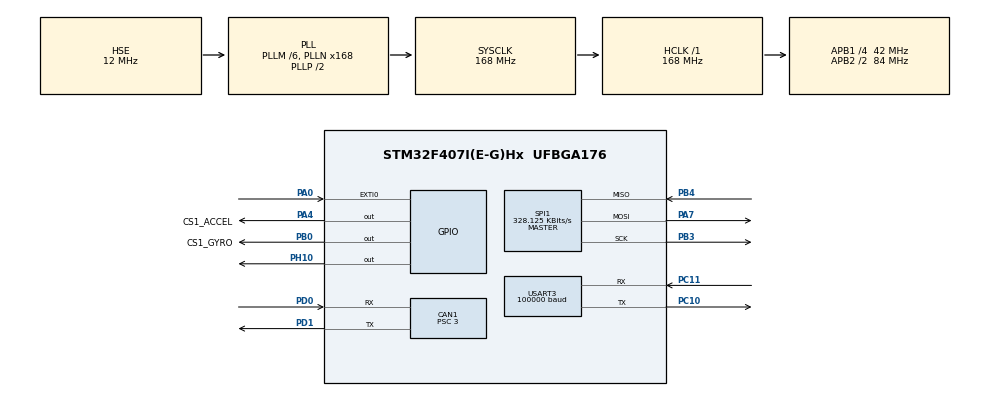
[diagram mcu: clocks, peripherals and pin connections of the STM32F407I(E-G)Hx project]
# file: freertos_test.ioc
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CAN1.BS1=CAN_BS1_10TQ
CAN1.BS2=CAN_BS2_3TQ
CAN1.CalculateBaudRate=1000000
CAN1.CalculateTimeBit=1000
CAN1.CalculateTimeQuantum=71.42857142857143
CAN1.Prescaler=3
Dma.Request0=USART3_RX
Dma.USART3_RX.0.Direction=DMA_PERIPH_TO_MEMORY
Dma.USART3_RX.0.FIFOMode=DMA_FIFOMODE_DISABLE
Dma.USART3_RX.0.Instance=DMA1_Stream1
Dma.USART3_RX.0.MemDataAlignment=DMA_MDATAALIGN_BYTE
Dma.USART3_RX.0.MemInc=DMA_MINC_ENABLE
Dma.USART3_RX.0.Mode=DMA_NORMAL
Dma.USART3_RX.0.PeriphDataAlignment=DMA_PDATAALIGN_BYTE
Dma.USART3_RX.0.PeriphInc=DMA_PINC_DISABLE
Dma.USART3_RX.0.Priority=DMA_PRIORITY_LOW
FREERTOS.Tasks01=defaultTask,24,128,StartDefaultTask,Default,NULL,Dynamic,NULL,NULL
Mcu.Family=STM32F4
Mcu.Name=STM32F407I(E-G)Hx
Mcu.Package=UFBGA176
NVIC.CAN1_RX0_IRQn=true\:5\:0\:false\:false\:true\:true\:true\:true\:true
NVIC.CAN1_RX1_IRQn=true\:5\:0\:false\:false\:true\:true\:true\:true\:true
NVIC.DMA1_Stream1_IRQn=true\:5\:0\:false\:false\:true\:true\:false\:true\:true
NVIC.EXTI0_IRQn=true\:5\:0\:false\:false\:true\:true\:true\:true\:true
NVIC.PriorityGroup=NVIC_PRIORITYGROUP_4
NVIC.TIM6_DAC_IRQn=true\:15\:0\:false\:false\:true\:false\:false\:true\:true
NVIC.TimeBase=TIM6_DAC_IRQn
NVIC.TimeBaseIP=TIM6
NVIC.USART3_IRQn=true\:5\:0\:false\:false\:true\:true\:true\:true\:true
PA0-WKUP.GPIO_PuPd=GPIO_PULLDOWN
PA0-WKUP.Signal=GPXTI0
PA13.Mode=Serial_Wire
PA13.Signal=SYS_JTMS-SWDIO
PA14.Mode=Serial_Wire
PA14.Signal=SYS_JTCK-SWCLK
PA4.GPIO_Label=CS1_ACCEL
PA4.GPIO_PuPd=GPIO_PULLUP
PA4.GPIO_Speed=GPIO_SPEED_FREQ_HIGH
PA4.PinState=GPIO_PIN_SET
PA4.Signal=GPIO_Output
PA7.Mode=Full_Duplex_Master
PA7.Signal=SPI1_MOSI
PB0.GPIO_Label=CS1_GYRO
PB0.GPIO_PuPd=GPIO_PULLUP
PB0.GPIO_Speed=GPIO_SPEED_FREQ_HIGH
PB0.PinState=GPIO_PIN_SET
PB0.Signal=GPIO_Output
PB3.Mode=Full_Duplex_Master
PB3.Signal=SPI1_SCK
PB4.Mode=Full_Duplex_Master
PB4.Signal=SPI1_MISO
PC10.Mode=Asynchronous
PC10.Signal=USART3_TX
PC11.Mode=Asynchronous
PC11.Signal=USART3_RX
PD0.Mode=CAN_Activate
PD0.Signal=CAN1_RX
PD1.Mode=CAN_Activate
PD1.Signal=CAN1_TX
PH0-OSC_IN.Mode=HSE-External-Oscillator
PH0-OSC_IN.Signal=RCC_OSC_IN
PH1-OSC_OUT.Mode=HSE-External-Oscillator
PH1-OSC_OUT.Signal=RCC_OSC_OUT
PH10.Signal=GPIO_Output
ProjectManager.HeapSize=0x200
ProjectManager.StackSize=0x400
ProjectManager.TargetToolchain=CMake
RCC.48MHZClocksFreq_Value=84000000
RCC.AHBFreq_Value=168000000
RCC.APB1CLKDivider=RCC_HCLK_DIV4
RCC.APB1Freq_Value=42000000
RCC.APB1TimFreq_Value=84000000
RCC.APB2CLKDivider=RCC_HCLK_DIV2
RCC.APB2Freq_Value=84000000
RCC.APB2TimFreq_Value=168000000
RCC.CortexFreq_Value=168000000
RCC.HCLKFreq_Value=168000000
RCC.HSE_VALUE=12000000
RCC.HSI_VALUE=16000000
RCC.LSE_VALUE=32768
RCC.PLLM=6
RCC.PLLN=168
RCC.PLLSourceVirtual=RCC_PLLSOURCE_HSE
RCC.SYSCLKFreq_VALUE=168000000
RCC.SYSCLKSource=RCC_SYSCLKSOURCE_PLLCLK
RCC.VCOOutputFreq_Value=336000000
SPI1.BaudRatePrescaler=SPI_BAUDRATEPRESCALER_256
SPI1.CLKPhase=SPI_PHASE_2EDGE
SPI1.CLKPolarity=SPI_POLARITY_HIGH
SPI1.CalculateBaudRate=328.125 KBits/s
SPI1.Direction=SPI_DIRECTION_2LINES
SPI1.Mode=SPI_MODE_MASTER
SPI1.VirtualType=VM_MASTER
USART3.BaudRate=100000
USART3.Parity=PARITY_EVEN
USART3.VirtualMode=VM_ASYNC
USART3.WordLength=WORDLENGTH_9B
VP_FREERTOS_VS_CMSIS_V2.Mode=CMSIS_V2
VP_SYS_VS_tim6.Mode=TIM6
board=custom

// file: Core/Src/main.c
/* USER CODE BEGIN Header */
/**
  ******************************************************************************
  * @file           : main.c
  * @brief          : Main program body
  ******************************************************************************
  * @attention
  *
  * Copyright (c) 2025 STMicroelectronics.
  * All rights reserved.
  *
  * This software is licensed under terms that can be found in the LICENSE file
  * in the root directory of this software component.
  * If no LICENSE file comes with this software, it is provided AS-IS.
  *
  ******************************************************************************
  */
/* USER CODE END Header */
#include "main.h"
#include "cmsis_os.h"
#include "can.h"
#include "dma.h"
#include "spi.h"
#include "usart.h"
#include "gpio.h"

/* USER CODE BEGIN PV */
CAN_FilterTypeDef can_filter = {
  .FilterIdHigh = 0x0000,
  .FilterIdLow = 0x0000,
  .FilterMaskIdHigh = 0x0000,
  .FilterMaskIdLow = 0x0000,
  .FilterFIFOAssignment = CAN_FILTER_FIFO0,
  .FilterBank = 0,
  .FilterMode = CAN_FILTERMODE_IDMASK,
  .FilterScale = CAN_FILTERSCALE_32BIT,
  .FilterActivation = ENABLE,
};
/* USER CODE END PV */

void SystemClock_Config(void);
void MX_FREERTOS_Init(void);

int main(void)
{

  /* MCU Configuration--------------------------------------------------------*/

  /* Reset of all peripherals, Initializes the Flash interface and the Systick. */
  HAL_Init();

  /* Configure the system clock */
  SystemClock_Config();

  /* Initialize all configured peripherals */
  MX_GPIO_Init();
  MX_DMA_Init();
  MX_CAN1_Init();
  MX_SPI1_Init();
  MX_USART3_UART_Init();
  /* USER CODE BEGIN 2 */
  if (HAL_CAN_ConfigFilter(&hcan1,&can_filter)!=HAL_OK) {
    Error_Handler();
  }
  if (HAL_CAN_Start(&hcan1)!=HAL_OK) {
    Error_Handler();
  }
  if (HAL_CAN_ActivateNotification(&hcan1,CAN_IT_RX_FIFO0_MSG_PENDING)!=HAL_OK) {
    Error_Handler();
  }
  /* USER CODE END 2 */

  /* Init scheduler */
  osKernelInitialize();  /* Call init function for freertos objects (in cmsis_os2.c) */
  MX_FREERTOS_Init();

  /* Start scheduler */
  osKernelStart();

  /* We should never get here as control is now taken by the scheduler */

  /* Infinite loop */
  while (1)
  {

  }
}

void SystemClock_Config(void)
{
  RCC_OscInitTypeDef RCC_OscInitStruct = {0};
  RCC_ClkInitTypeDef RCC_ClkInitStruct = {0};

  /** Configure the main internal regulator output voltage
  */
  __HAL_RCC_PWR_CLK_ENABLE();
  __HAL_PWR_VOLTAGESCALING_CONFIG(PWR_REGULATOR_VOLTAGE_SCALE1);

  /** Initializes the RCC Oscillators according to the specified parameters
  * in the RCC_OscInitTypeDef structure.
  */
  RCC_OscInitStruct.OscillatorType = RCC_OSCILLATORTYPE_HSE;
  RCC_OscInitStruct.HSEState = RCC_HSE_ON;
  RCC_OscInitStruct.PLL.PLLState = RCC_PLL_ON;
  RCC_OscInitStruct.PLL.PLLSource = RCC_PLLSOURCE_HSE;
  RCC_OscInitStruct.PLL.PLLM = 6;
  RCC_OscInitStruct.PLL.PLLN = 168;
  RCC_OscInitStruct.PLL.PLLP = RCC_PLLP_DIV2;
  RCC_OscInitStruct.PLL.PLLQ = 4;
  if (HAL_RCC_OscConfig(&RCC_OscInitStruct) != HAL_OK)
  {
    Error_Handler();
  }

  /** Initializes the CPU, AHB and APB buses clocks
  */
  RCC_ClkInitStruct.ClockType = RCC_CLOCKTYPE_HCLK|RCC_CLOCKTYPE_SYSCLK
                              |RCC_CLOCKTYPE_PCLK1|RCC_CLOCKTYPE_PCLK2;
  RCC_ClkInitStruct.SYSCLKSource = RCC_SYSCLKSOURCE_PLLCLK;
  RCC_ClkInitStruct.AHBCLKDivider = RCC_SYSCLK_DIV1;
  RCC_ClkInitStruct.APB1CLKDivider = RCC_HCLK_DIV4;
  RCC_ClkInitStruct.APB2CLKDivider = RCC_HCLK_DIV2;

  if (HAL_RCC_ClockConfig(&RCC_ClkInitStruct, FLASH_LATENCY_5) != HAL_OK)
  {
    Error_Handler();
  }
}

void HAL_TIM_PeriodElapsedCallback(TIM_HandleTypeDef *htim)
{
  if (htim->Instance == TIM6)
  {
    HAL_IncTick();
  }
}

void Error_Handler(void)
{
  __disable_irq();
  while (1)
  {
  }
}

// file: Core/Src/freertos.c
/* USER CODE BEGIN Header */
/**
  ******************************************************************************
  * File Name          : freertos.c
  * Description        : Code for freertos applications
  ******************************************************************************
  * @attention
  *
  * Copyright (c) 2025 STMicroelectronics.
  * All rights reserved.
  *
  * This software is licensed under terms that can be found in the LICENSE file
  * in the root directory of this software component.
  * If no LICENSE file comes with this software, it is provided AS-IS.
  *
  ******************************************************************************
  */
/* USER CODE END Header */

#include "FreeRTOS.h"
#include "task.h"
#include "main.h"
#include "cmsis_os.h"

/* USER CODE BEGIN Includes */
#include"usertask.h"
/* USER CODE END Includes */

/* Definitions for defaultTask */
osThreadId_t defaultTaskHandle;
const osThreadAttr_t defaultTask_attributes = {
  .name = "defaultTask",
  .stack_size = 128 * 4,
  .priority = (osPriority_t) osPriorityNormal,
};

void StartDefaultTask(void *argument);

void MX_FREERTOS_Init(void); /* (MISRA C 2004 rule 8.1) */

void MX_FREERTOS_Init(void) {
  /* USER CODE BEGIN Init */
  User_Tasks_Init();
  /* USER CODE END Init */

  /* Create the thread(s) */
  /* creation of defaultTask */
  defaultTaskHandle = osThreadNew(StartDefaultTask, NULL, &defaultTask_attributes);

}

void StartDefaultTask(void *argument)
{
  for(;;)
  {
    osDelay(1);
  }
}
